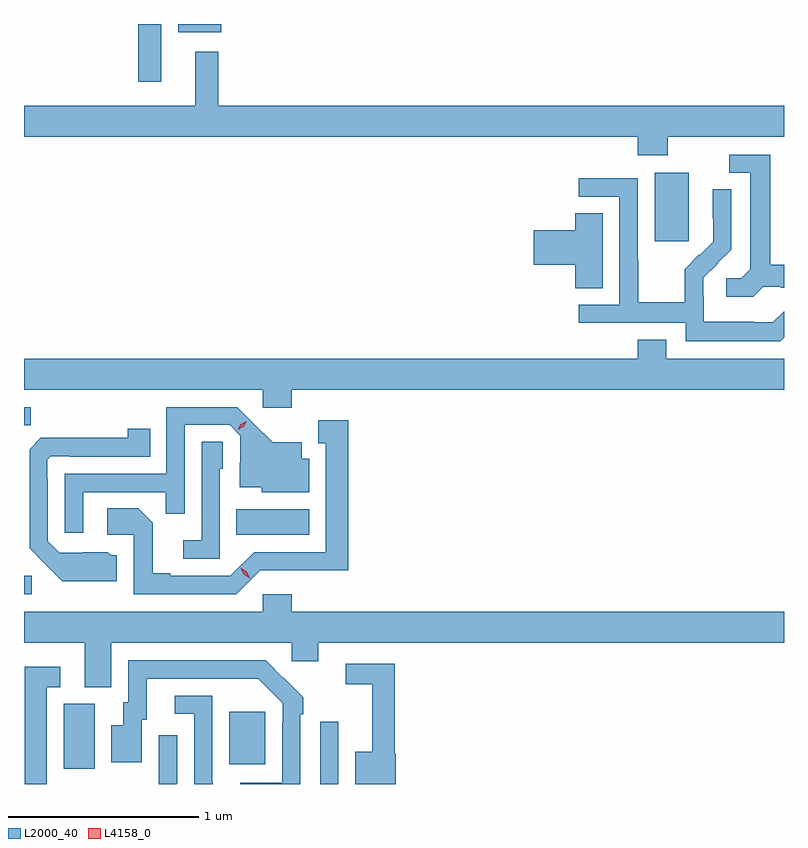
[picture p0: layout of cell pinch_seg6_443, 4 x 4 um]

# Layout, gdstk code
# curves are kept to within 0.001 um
import gdstk
lib = gdstk.Library(unit=1e-6, precision=1e-09)
def R(c, l, rs):  # rectangles x0, y0, x1, y1
    for r in rs: c.add(gdstk.rectangle(r[:2], r[2:], *l))
def P(c, l, *ps):  # polygons
    for p in ps: c.add(gdstk.Polygon(p, *l))
L2000_40 = (2000, 40)
L4158_0 = (4158, 0)

pinch_seg6_443 = lib.new_cell('pinch_seg6_443')
R(pinch_seg6_443, L2000_40, [(733.437,917.289,733.533,917.617), (732.086,917.368,732.25,917.712), (732.959,917.393,733.147,917.668), (731.878,918.288,731.92,918.384), (732.994,918.602,733.378,918.736), (731.878,919.177,731.913,919.272), (735.197,920.145,735.376,920.506), (732.48,920.985,732.601,921.289), (732.689,921.245,732.916,921.289)])
P(pinch_seg6_443, L2000_40, [(735.267,920.696),(735.878,920.696),(735.878,920.86),(732.901,920.86),(732.901,921.142),(732.779,921.142),(732.779,920.86),(731.878,920.86),(731.878,920.696),(735.107,920.696),(735.107,920.597),(735.267,920.597)],
  [(735.768,919.905),(735.862,919.905),(735.862,919.902),(735.878,919.902),(735.878,920.021),(735.805,920.021),(735.805,920.601),(735.591,920.601),(735.591,920.505),(735.701,920.505),(735.701,919.997),(735.654,919.95),(735.573,919.95),(735.573,919.853),(735.716,919.853)],
  [(735.878,919.64),(735.878,919.778),(735.819,919.719),(735.719,919.719),(735.719,919.723),(735.456,919.723),(735.456,919.857),(735.454,919.857),(735.454,919.954),(735.6,920.102),(735.6,920.42),(735.504,920.42),(735.504,920.266),(735.506,920.266),(735.506,920.144),(735.435,920.073),(735.432,920.076),(735.355,919.999),(735.355,919.825),(735.111,919.825),(735.111,920.048),(735.108,920.048),(735.108,920.478),(734.799,920.478),(734.799,920.379),(735.012,920.379),(735.012,919.812),(734.799,919.812),(734.799,919.716),(735.36,919.716),(735.36,919.619),(735.857,919.619)],
  [(734.923,920.294),(734.78,920.294),(734.78,920.204),(734.562,920.204),(734.562,920.021),(734.78,920.021),(734.78,919.897),(734.923,919.897)],
  [(733.286,919.364),(735.878,919.364),(735.878,919.528),(735.259,919.528),(735.259,919.627),(735.107,919.627),(735.107,919.528),(731.878,919.528),(731.878,919.364),(733.134,919.364),(733.134,919.269),(733.286,919.269)],
  [(732.189,918.825),(732.625,918.825),(732.625,918.712),(732.723,918.712),(732.723,919.179),(732.96,919.179),(733.017,919.122),(733.017,918.98),(733.013,918.98),(733.013,918.851),(733.128,918.851),(733.128,918.824),(733.378,918.824),(733.378,919),(733.339,919),(733.339,919.087),(733.187,919.087),(733,919.272),(732.627,919.272),(732.627,918.921),(732.093,918.921),(732.093,918.612),(732.189,918.612)],
  [(733.122,918.414),(733.585,918.413),(733.585,919.204),(733.427,919.204),(733.427,919.083),(733.466,919.083),(733.466,918.51),(733.089,918.51),(732.963,918.384),(732.649,918.384),(732.649,918.397),(732.555,918.397),(732.555,918.664),(732.479,918.74),(732.315,918.74),(732.315,918.6),(732.456,918.6),(732.456,918.288),(732.996,918.288)],
  [(732.367,918.492),(732.336,918.492),(732.32,918.508),(732.063,918.507),(732.003,918.567),(732.003,918.896),(732,918.896),(732,918.996),(732.018,919.014),(732.118,919.014),(732.118,919.011),(732.542,919.011),(732.542,919.159),(732.424,919.159),(732.424,919.112),(731.966,919.111),(731.907,919.052),(731.907,918.53),(732.079,918.356),(732.367,918.356)],
  [(732.909,918.948),(732.924,918.948),(732.924,919.091),(732.813,919.091),(732.813,918.571),(732.717,918.571),(732.717,918.474),(732.909,918.474)],
  [(732.337,918.032),(733.287,918.032),(733.287,917.934),(733.426,917.934),(733.426,918.032),(735.878,918.032),(735.878,918.196),(733.286,918.196),(733.286,918.289),(733.134,918.289),(733.134,918.196),(731.878,918.196),(731.878,918.032),(732.197,918.032),(732.197,917.797),(732.337,917.797)],
  [(733.332,917.657),(733.347,917.657),(733.347,917.745),(733.15,917.94),(732.426,917.94),(732.426,917.718),(732.401,917.718),(732.401,917.599),(732.338,917.599),(732.338,917.403),(732.499,917.403),(732.499,917.628),(732.523,917.628),(732.523,917.844),(733.111,917.844),(733.239,917.715),(733.239,917.615),(733.236,917.615),(733.236,917.295),(733.017,917.295),(733.017,917.289),(733.332,917.289)],
  [(733.835,917.448),(733.829,917.448),(733.829,917.922),(733.572,917.922),(733.572,917.814),(733.712,917.814),(733.712,917.458),(733.622,917.458),(733.622,917.289),(733.835,917.289)],
  [(731.997,917.799),(732.07,917.799),(732.07,917.905),(731.881,917.905),(731.881,917.289),(731.997,917.289)],
  [(732.871,917.297),(732.87,917.297),(732.87,917.754),(732.672,917.754),(732.672,917.658),(732.774,917.658),(732.774,917.289),(732.871,917.289)],
  [(732.683,917.29),(732.684,917.29),(732.684,917.545),(732.588,917.545),(732.588,917.289),(732.683,917.289)])
P(pinch_seg6_443, L4158_0, [(733.066,918.373),(733.035,918.392),(733.018,918.426),(733.018,918.426),(733.018,918.426),(733.05,918.406),(733.066,918.373),(733.066,918.373)],
  [(733.002,919.154),(733.002,919.154),(733.019,919.183),(733.05,919.198),(733.051,919.198),(733.051,919.198),(733.033,919.168),(733.002,919.154)])

lib.write_gds('pinch_seg6_443.gds')
